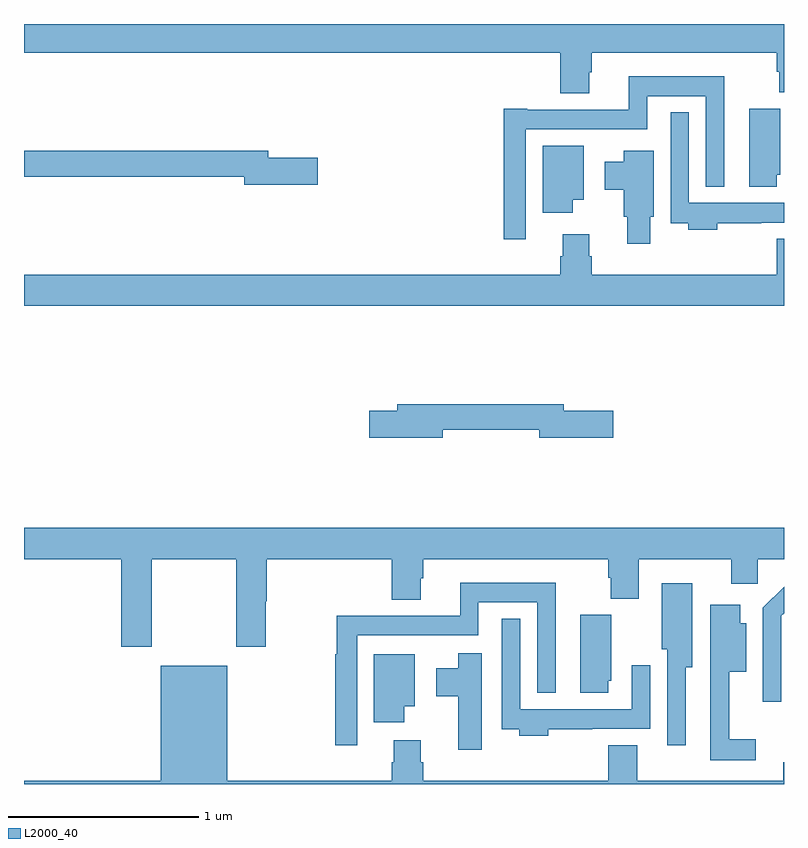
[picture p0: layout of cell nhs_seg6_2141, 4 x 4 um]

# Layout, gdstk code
import gdstk
lib = gdstk.Library(unit=1e-6, precision=1e-09)
def P(c, l, *ps):  # polygons
    for p in ps: c.add(gdstk.Polygon(p, *l))
L2000_40 = (2000, 40)

nhs_seg6_2141 = lib.new_cell('nhs_seg6_2141')
P(nhs_seg6_2141, L2000_40, [(241.975,935.247),(241.988,935.247),(241.988,935.348),(242.963,935.348),(242.963,935.249),(242.975,935.249),(242.975,935.14),(243,935.14),(243,935.5),(239,935.5),(239,935.348),(241.823,935.348),(241.823,935.135),(241.975,935.135)],
  [(241.641,934.946),(242.28,934.946),(242.28,935.12),(242.589,935.12),(242.589,934.643),(242.686,934.643),(242.686,935.224),(242.183,935.224),(242.183,935.05),(241.648,935.05),(241.648,935.053),(241.525,935.053),(241.525,934.368),(241.641,934.368)],
  [(242.962,934.707),(242.98,934.707),(242.98,935.055),(242.816,935.055),(242.816,934.644),(242.962,934.644)],
  [(242.648,934.452),(242.879,934.452),(242.879,934.454),(243,934.454),(243,934.558),(242.499,934.558),(242.499,935.035),(242.403,935.035),(242.403,934.452),(242.495,934.452),(242.495,934.418),(242.648,934.418)],
  [(241.888,934.574),(241.945,934.574),(241.945,934.858),(241.73,934.858),(241.73,934.506),(241.888,934.506)],
  [(242.296,934.485),(242.314,934.485),(242.314,934.834),(242.156,934.834),(242.156,934.774),(242.057,934.774),(242.057,934.627),(242.156,934.627),(242.156,934.485),(242.174,934.485),(242.174,934.344),(242.296,934.344)],
  [(240.547,934.796),(240.286,934.796),(240.286,934.832),(239,934.832),(239,934.696),(240.158,934.696),(240.158,934.654),(240.547,934.654)],
  [(243,934.369),(242.963,934.369),(242.963,934.18),(241.988,934.18),(241.988,934.278),(241.975,934.278),(241.975,934.393),(241.835,934.393),(241.835,934.278),(241.823,934.278),(241.823,934.18),(239,934.18),(239,934.016),(243,934.016)],
  [(241.204,933.364),(241.712,933.364),(241.712,933.322),(242.101,933.322),(242.101,933.464),(241.84,933.464),(241.84,933.5),(240.965,933.5),(240.965,933.464),(240.816,933.464),(240.816,933.322),(241.204,933.322)],
  [(239.673,932.684),(240.118,932.684),(240.118,932.223),(240.273,932.223),(240.273,932.462),(240.278,932.462),(240.278,932.684),(240.935,932.684),(240.935,932.471),(241.087,932.471),(241.087,932.583),(241.1,932.583),(241.1,932.684),(242.075,932.684),(242.075,932.585),(242.087,932.585),(242.087,932.476),(242.235,932.476),(242.235,932.684),(242.723,932.684),(242.723,932.553),(242.862,932.553),(242.862,932.684),(243,932.684),(243,932.848),(239,932.848),(239,932.684),(239.513,932.684),(239.513,932.223),(239.673,932.223)],
  [(240.753,932.282),(241.392,932.282),(241.392,932.456),(241.701,932.456),(241.701,931.979),(241.798,931.979),(241.798,932.56),(241.295,932.56),(241.295,932.386),(240.645,932.386),(240.645,932.182),(240.637,932.182),(240.637,931.704),(240.753,931.704)],
  [(242.482,932.114),(242.518,932.114),(242.518,932.557),(242.357,932.557),(242.357,932.208),(242.385,932.208),(242.385,931.704),(242.482,931.704)],
  [(242.985,932.385),(243,932.4),(243,932.538),(242.889,932.427),(242.889,931.932),(242.985,931.932)],
  [(242.851,931.735),(242.711,931.735),(242.711,932.09),(242.8,932.09),(242.8,932.347),(242.77,932.347),(242.77,932.443),(242.612,932.443),(242.612,931.626),(242.851,931.626)],
  [(242.074,932.043),(242.092,932.043),(242.092,932.391),(241.928,932.391),(241.928,931.98),(242.074,931.98)],
  [(241.76,931.788),(241.991,931.788),(241.991,931.79),(242.295,931.79),(242.295,932.125),(242.199,932.125),(242.199,931.894),(241.611,931.894),(241.611,932.371),(241.515,932.371),(241.515,931.788),(241.607,931.788),(241.607,931.754),(241.76,931.754)],
  [(241.408,932.188),(241.286,932.188),(241.286,932.11),(241.169,932.11),(241.169,931.963),(241.286,931.963),(241.286,931.68),(241.408,931.68)],
  [(241,931.91),(241.057,931.91),(241.057,932.182),(240.842,932.182),(240.842,931.824),(241,931.824)],
  [(243,931.614),(242.996,931.614),(242.996,931.516),(242.227,931.516),(242.227,931.705),(242.075,931.705),(242.075,931.516),(241.1,931.516),(241.1,931.614),(241.087,931.614),(241.087,931.729),(240.947,931.729),(240.947,931.614),(240.935,931.614),(240.935,931.516),(240.07,931.516),(240.07,932.122),(239.72,932.122),(239.72,931.516),(239,931.516),(239,931.5),(243,931.5)])

lib.write_gds('nhs_seg6_2141.gds')
